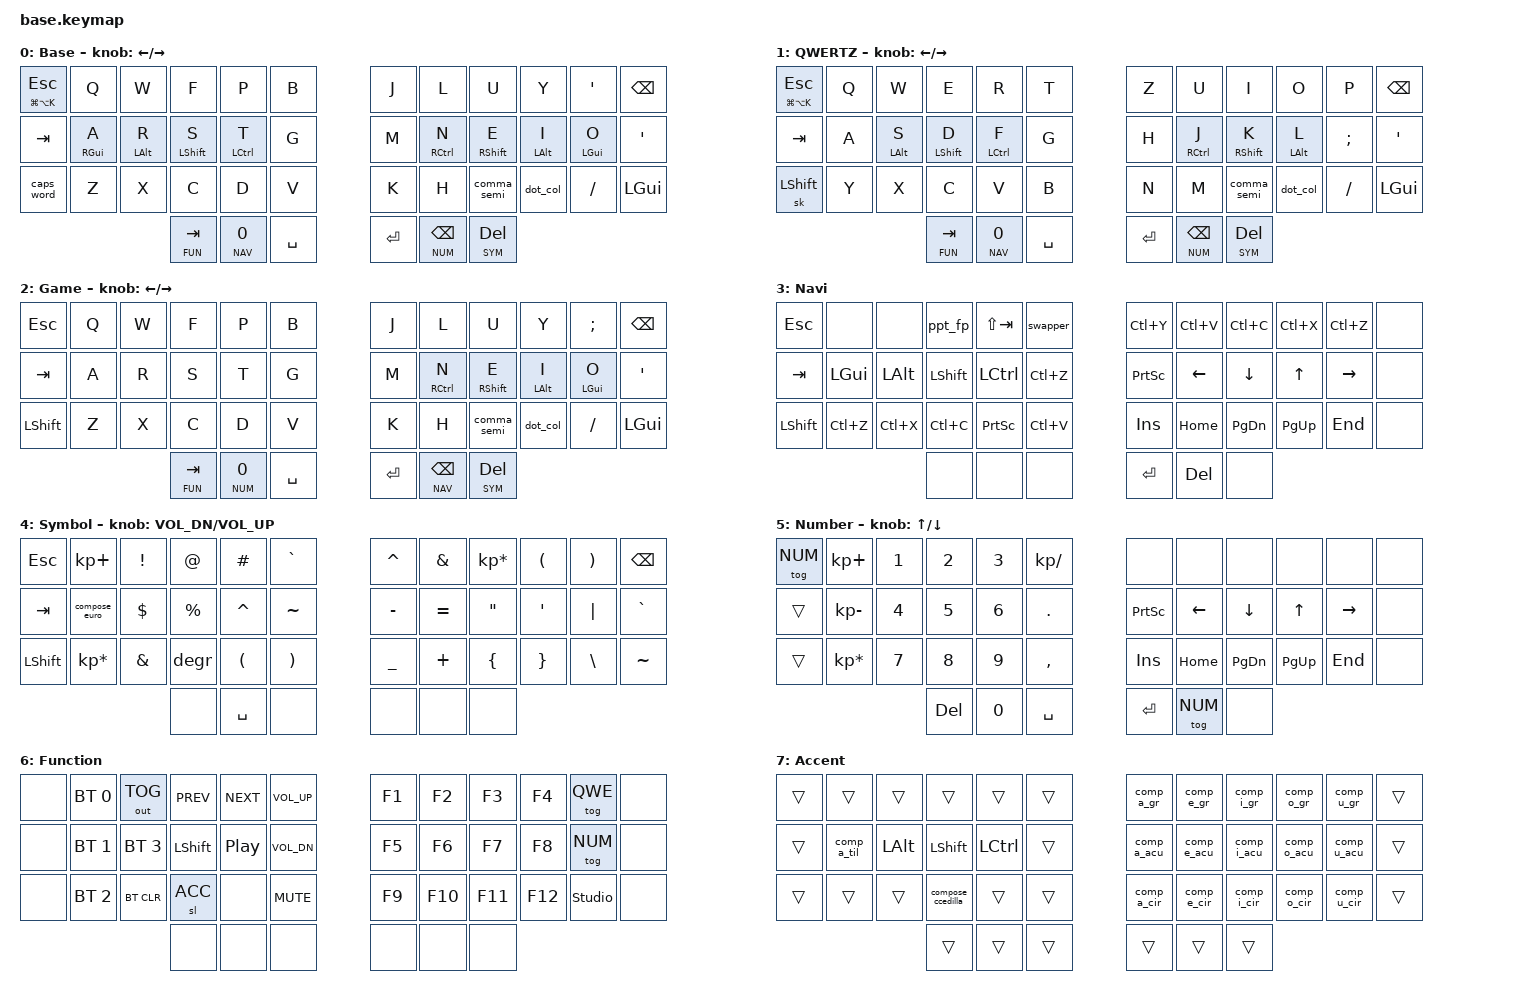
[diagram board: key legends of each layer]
/*
 * Copyright (c) 2020 The ZMK Contributo
 *
 * SPDX-License-Identifier: MIT
 */
//#define HOST_OS 2

#include <behaviors.dtsi>
#include <behaviors/unicode.dtsi>
#include <behaviors/num_word.dtsi>

#include "zmk-helpers/helper.h"
#include "zmk-helpers/unicode-chars/german.dtsi"
#include "zmk-helpers/unicode-chars/spanish.dtsi"
#include "zmk-helpers/unicode-chars/portuguese.dtsi"
#include "zmk-helpers/unicode-chars/currency.dtsi"
#include "zmk-helpers/key-labels/42.h"

#include <dt-bindings/zmk/keys.h>
#include <dt-bindings/zmk/bt.h>
#include <dt-bindings/zmk/outputs.h>


// Homerow Mod Keymaps
#define KEYS_L LT0 LT1 LT2 LT3 LT4 LT5 LM0 LM1 LM2 LM3 LM4 LM5 LB0 LB1 LB2 LB3 LB4 LB5  // left hand
#define KEYS_R RT0 RT1 RT2 RT3 RT4 RT5 RM0 RM1 RM2 RM3 RM4 RM5 RB0 RB1 RB2 RB3 RB4 RB5  // right hand
#define THUMBS LH2 LH1 LH0 RH0 RH1 RH2                                      // thumbs


// Layer names
#define BASE    0
#define QWE     1
#define GAME    2
#define NAV     3
#define SYM     4
#define NUM     5
#define FUN     6
#define ACC     7
#define MOUSE   8 //defined in choco_cirque.keymap

// Symbols for better visibility in keymap:
#define ___     &none
#define oooo    &trans
#define USL     UC_SET_LINUX
#define USW     UC_SET_WIN_COMPOSE

// Additional includes defined down here, because layer names are required
#include "./nodefree/makros_nodefree.dtsi"

// Define timings for core behaviors
&lt {
    tapping-term-ms = <200>;
    quick-tap-ms = <200>;
};

&sk {
    release-after-ms = <2000>;
    quick-release;
};
&uc {
    default-mode = <UC_MODE_WIN_COMPOSE>; //Default unicode setup to Windows. Can be switched by combo
    win-compose-key = <RALT>;
    /* minimum-length = <4>; */
};
/ {
    // Include separate files for better overview
    //#include "makros.dtsi"
    #include "behaviors.dtsi"
    #include "combos.dtsi"

    keymap {
        compatible = "zmk,keymap";

        default_layer {
            bindings = <
            //╭──────────────┬──────────────┬─────────────┬─────────────┬─────────────┬─────────────╮   ╭─────────────┬─────────────┬─────────────┬─────────────┬─────────────┬─────────────╮
            &mt LG(LA(K)) ESC   &kp Q          &kp W        &kp F          &kp P         &kp B              &kp J       &kp L         &kp U         &kp Y         &kp SQT       &kp BSPC
            //├──────────────┼──────────────┼─────────────┼─────────────┼─────────────┼─────────────┤   ├─────────────┼─────────────┼─────────────┼─────────────┼─────────────┼─────────────┤
                &kp TAB         &hml RGUI A    &hml LALT R  &hml LSHFT S   &hml LCTRL T  &kp G              &kp M       &hmr RCTRL N  &hmr RSHFT E  &hmr LALT I   &hmr LGUI O    &kp SQT
            //├──────────────┼──────────────┼─────────────┼─────────────┼─────────────┼─────────────┤   ├─────────────┼─────────────┼─────────────┼─────────────┼─────────────┼─────────────┤
                &caps_word      &kp Z          &kp X        &kp C          &kp D         &kp V              &kp K       &kp H         &comma_semi     &dot_col    &kp FSLH       &kp LGUI
            //╰──────────────┴──────────────┴─────────────┼─────────────┼─────────────┼─────────────┤   ├─────────────┼─────────────┼─────────────┼─────────────┴─────────────┴─────────────╯
                                                             &lt FUN TAB  &htak NAV 0    &kp SPACE          &kp ENTER   &lt NUM BSPC  &lt SYM DEL
            //                                            ╰─────────────┴─────────────┴─────────────╯   ╰─────────────┴─────────────┴─────────────╯
            >;
            sensor-bindings = <&inc_dec_kp LEFT RIGHT>;
            label = "Base";
        };

        qwertz_layer {
            bindings = <
            //╭──────────────┬──────────────┬─────────────┬─────────────┬─────────────┬─────────────╮   ╭─────────────┬─────────────┬─────────────┬─────────────┬─────────────┬─────────────╮
            &mt LG(LA(K)) ESC   &kp Q          &kp W         &kp E         &kp R         &kp T            &kp Z          &kp U         &kp I         &kp O         &kp P         &kp BSPC
            //├──────────────┼──────────────┼─────────────┼─────────────┼─────────────┼─────────────┤   ├─────────────┼─────────────┼─────────────┼─────────────┼─────────────┼─────────────┤
            &kp TAB             &kp A          &hml LALT S   &hml LSHFT D  &hml LCTRL F  &kp G            &kp H          &hmr RCTRL J  &hmr RSHFT K  &hmr LALT L   &kp SEMI      &kp SQT
            //├──────────────┼──────────────┼─────────────┼─────────────┼─────────────┼─────────────┤   ├─────────────┼─────────────┼─────────────┼─────────────┼─────────────┼─────────────┤
            &sk LSHFT           &kp Y          &kp X         &kp C         &kp V         &kp B            &kp N          &kp M         &comma_semi   &dot_col      &kp FSLH      &kp LGUI
            //╰──────────────┴──────────────┴─────────────┼─────────────┼─────────────┼─────────────┤   ├─────────────┼─────────────┼─────────────┼─────────────┴─────────────┴─────────────╯
                                                            &lt FUN TAB    &htak NAV 0   &kp SPACE        &kp ENTER      &lt NUM BSPC  &lt SYM DEL
            //                                            ╰─────────────┴─────────────┴─────────────╯   ╰─────────────┴─────────────┴─────────────╯
            >;
            sensor-bindings = <&inc_dec_kp LEFT RIGHT>;
            label = "QWERTZ";
        };

        game_layer {
            bindings = <
            //╭──────────────┬──────────────┬─────────────┬─────────────┬─────────────┬─────────────╮   ╭─────────────┬─────────────┬─────────────┬─────────────┬─────────────┬─────────────╮
                &kp ESC         &kp Q          &kp W        &kp F          &kp P         &kp B              &kp J       &kp L         &kp U         &kp Y         &kp SEMICOLON  &kp BSPC
            //├──────────────┼──────────────┼─────────────┼─────────────┼─────────────┼─────────────┤   ├─────────────┼─────────────┼─────────────┼─────────────┼─────────────┼─────────────┤
                &kp TAB         &kp A          &kp R        &kp S          &kp T         &kp G              &kp M       &hmr RCTRL N  &hmr RSHFT E  &hmr LALT I   &hmr LGUI O    &kp SQT
            //├──────────────┼──────────────┼─────────────┼─────────────┼─────────────┼─────────────┤   ├─────────────┼─────────────┼─────────────┼─────────────┼─────────────┼─────────────┤
                &kp LSHFT       &kp Z          &kp X        &kp C          &kp D         &kp V              &kp K       &kp H          &comma_semi   &dot_col     &kp FSLH       &kp LGUI
            //╰──────────────┴──────────────┴─────────────┼─────────────┼─────────────┼─────────────┤   ├─────────────┼─────────────┼─────────────┼─────────────┴─────────────┴─────────────╯
                                                             &lt FUN TAB  &htak NUM 0    &kp SPACE          &kp ENTER   &lt NAV BSPC  &lt SYM DEL
            //                                            ╰─────────────┴─────────────┴─────────────╯   ╰─────────────┴─────────────┴─────────────╯
            >;
            sensor-bindings = <&inc_dec_kp LEFT RIGHT>;
            label = "Game";
        };

        nav_layer {
            bindings = <
            //╭──────────────┬──────────────┬─────────────┬─────────────┬─────────────┬─────────────╮   ╭─────────────┬─────────────┬─────────────┬─────────────┬─────────────┬─────────────╮
                &kp ESC         ___             ___         &ppt_fp        &kp LS(TAB)  &swapper          &kp LC(Y)     &kp LC(V)     &kp LC(C)     &kp LC(X)      &kp LC(Z)      ___
            //├──────────────┼──────────────┼─────────────┼─────────────┼─────────────┼─────────────┤   ├─────────────┼─────────────┼─────────────┼─────────────┼─────────────┼─────────────┤
                &kp TAB         &kp LGUI        &kp LALT    &kp LSHFT      &kp LCTRL    &kp LC(Z)         &kp PRINTSCREEN &kp LEFT    &kp DOWN      &kp UP         &kp RIGHT      ___
            //├──────────────┼──────────────┼─────────────┼─────────────┼─────────────┼─────────────┤   ├─────────────┼─────────────┼─────────────┼─────────────┼─────────────┼─────────────┤
                &kp LSHFT       &kp LC(Z)       &kp LC(X)   &kp LC(C)   &kp PRINTSCREEN &kp LC(V)         &kp INS       &kp HOME      &kp PG_DN     &kp PG_UP      &kp END        ___
            //╰──────────────┴──────────────┴─────────────┼─────────────┼─────────────┼─────────────┤   ├─────────────┼─────────────┼─────────────┼─────────────┴─────────────┴─────────────╯
                                                            ___            ___          ___               &kp RETURN    &kp DEL       ___
            //                                            ╰─────────────┴─────────────┴─────────────╯   ╰─────────────┴─────────────┴─────────────╯
            >;

            label = "Navi";
        };

        symbol_layer {
            bindings = <
            //╭──────────────┬──────────────┬─────────────┬─────────────┬─────────────┬─────────────╮   ╭─────────────┬─────────────┬─────────────┬─────────────┬─────────────┬─────────────╮
                &kp ESC       &kp KP_PLUS      &kp EXCL       &kp AT        &kp HASH      &kp GRAVE        &kp CARET    &kp AMPS    &kp KP_MULTIPLY  &kp LPAR       &kp RPAR    &kp BSPC
            //├──────────────┼──────────────┼─────────────┼─────────────┼─────────────┼─────────────┤   ├─────────────┼─────────────┼─────────────┼─────────────┼─────────────┼─────────────┤
                &kp TAB       &compose_euro    &kp DLLR       &kp PRCNT     &kp CARET     &kp TILDE        &kp MINUS    &kp EQUAL      &kp DQT        &kp SQT       &kp PIPE    &kp GRAVE
            //├──────────────┼──────────────┼─────────────┼─────────────┼─────────────┼─────────────┤   ├─────────────┼─────────────┼─────────────┼─────────────┼─────────────┼─────────────┤
                &kp LSHFT     &kp KP_ASTERISK  &kp AMPS       &degr         &kp LPAR      &kp RPAR         &kp UNDER    &kp PLUS       &kp LBRC      &kp RBRC       &kp BSLH    &kp TILDE
            //╰──────────────┴──────────────┴─────────────┼─────────────┼─────────────┼─────────────┤   ├─────────────┼─────────────┼─────────────┼─────────────┴─────────────┴─────────────╯
                                                              ___           &kp SPACE     ___              ___          ___            ___
            //                                            ╰─────────────┴─────────────┴─────────────╯   ╰─────────────┴─────────────┴─────────────╯
            >;
            sensor-bindings = <&inc_dec_kp C_VOL_DN C_VOL_UP>;
            label = "Symbol";
        };

        num_layer {
            bindings = <
            //╭──────────────┬──────────────┬─────────────┬─────────────┬─────────────┬─────────────╮   ╭─────────────┬─────────────┬─────────────┬─────────────┬─────────────┬─────────────╮
                &tog NUM      &kp KP_PLUS      &kp N1        &kp N2       &kp N3        &kp KP_DIVIDE      ___           ___           ___           ___            ___            ___
            //├──────────────┼──────────────┼─────────────┼─────────────┼─────────────┼─────────────┤   ├─────────────┼─────────────┼─────────────┼─────────────┼─────────────┼─────────────┤
                oooo          &kp KP_MINUS     &kp N4        &kp N5       &kp N6        &kp DOT            &kp PRINTSCREEN &kp LEFT    &kp DOWN      &kp UP         &kp RIGHT      ___
            //├──────────────┼──────────────┼─────────────┼─────────────┼─────────────┼─────────────┤   ├─────────────┼─────────────┼─────────────┼─────────────┼─────────────┼─────────────┤
                oooo          &kp KP_ASTERISK  &kp N7        &kp N8       &kp N9        &kp COMMA          &kp INS       &kp HOME      &kp PG_DN     &kp PG_UP      &kp END        ___
            //╰──────────────┴──────────────┴─────────────┼─────────────┼─────────────┼─────────────┤   ├─────────────┼─────────────┼─────────────┼─────────────┴─────────────┴─────────────╯
                                                             &kp DELETE   &kp N0        &kp SPACE          &kp RETURN    &tog NUM      ___
            //                                            ╰─────────────┴─────────────┴─────────────╯   ╰─────────────┴─────────────┴─────────────╯
            >;
            sensor-bindings = <&inc_dec_kp UP DOWN>;
            label = "Number";
        };

        function_layer {
            bindings = <
            //╭──────────────┬──────────────┬─────────────┬─────────────┬─────────────┬─────────────╮   ╭─────────────┬─────────────┬─────────────┬─────────────┬─────────────┬─────────────╮
                 ___          &bt BT_SEL 0   &out OUT_TOG   &kp C_PREV    &kp C_NEXT    &kp C_VOL_UP        &kp F1       &kp F2        &kp F3        &kp F4        &tog QWE        ___
            //├──────────────┼──────────────┼─────────────┼─────────────┼─────────────┼─────────────┤   ├─────────────┼─────────────┼─────────────┼─────────────┼─────────────┼─────────────┤
                 ___          &bt BT_SEL 1   &bt BT_SEL 3   &kp LSHFT     &kp C_PP      &kp C_VOL_DN        &kp F5       &kp F6        &kp F7        &kp F8        &tog NUM        ___
            //├──────────────┼──────────────┼─────────────┼─────────────┼─────────────┼─────────────┤   ├─────────────┼─────────────┼─────────────┼─────────────┼─────────────┼─────────────┤
                 ___          &bt BT_SEL 2   &bt BT_CLR     &sl ACC       ___           &kp C_MUTE          &kp F9       &kp F10       &kp F11       &kp F12       &studio_unlock  ___
            //╰──────────────┴──────────────┴─────────────┼─────────────┼─────────────┼─────────────┤   ├─────────────┼─────────────┼─────────────┼─────────────┴─────────────┴─────────────╯
                                                              ___         ___           ___                 ___          ___           ___
            //                                            ╰─────────────┴─────────────┴─────────────╯   ╰─────────────┴─────────────┴─────────────╯
            >;

            label = "Function";
        };

        accent_layer {
            bindings = <
            //╭──────────────┬──────────────┬─────────────┬─────────────┬─────────────┬─────────────╮   ╭─────────────┬─────────────┬─────────────┬─────────────┬─────────────┬─────────────╮
                oooo            oooo            oooo        oooo            oooo         oooo             &comp_a_gr    &comp_e_gr    &comp_i_gr    &comp_o_gr    &comp_u_gr      oooo
            //├──────────────┼──────────────┼─────────────┼─────────────┼─────────────┼─────────────┤   ├─────────────┼─────────────┼─────────────┼─────────────┼─────────────┼─────────────┤
                oooo            &comp_a_til     &kp LALT    &kp LSHFT      &kp LCTRL     oooo             &comp_a_acu   &comp_e_acu   &comp_i_acu   &comp_o_acu   &comp_u_acu     oooo
            //├──────────────┼──────────────┼─────────────┼─────────────┼─────────────┼─────────────┤   ├─────────────┼─────────────┼─────────────┼─────────────┼─────────────┼─────────────┤
                oooo            oooo            oooo      &compose_ccedilla oooo         oooo             &comp_a_cir   &comp_e_cir   &comp_i_cir   &comp_o_cir   &comp_u_cir     oooo
            //╰──────────────┴──────────────┴─────────────┼─────────────┼─────────────┼─────────────┤   ├─────────────┼─────────────┼─────────────┼─────────────┴─────────────┴─────────────╯
                                                            oooo            oooo         oooo               oooo         oooo          oooo
            //                                            ╰─────────────┴─────────────┴─────────────╯   ╰─────────────┴─────────────┴─────────────╯
            >;

            label = "Accent";
        };
    };
};
